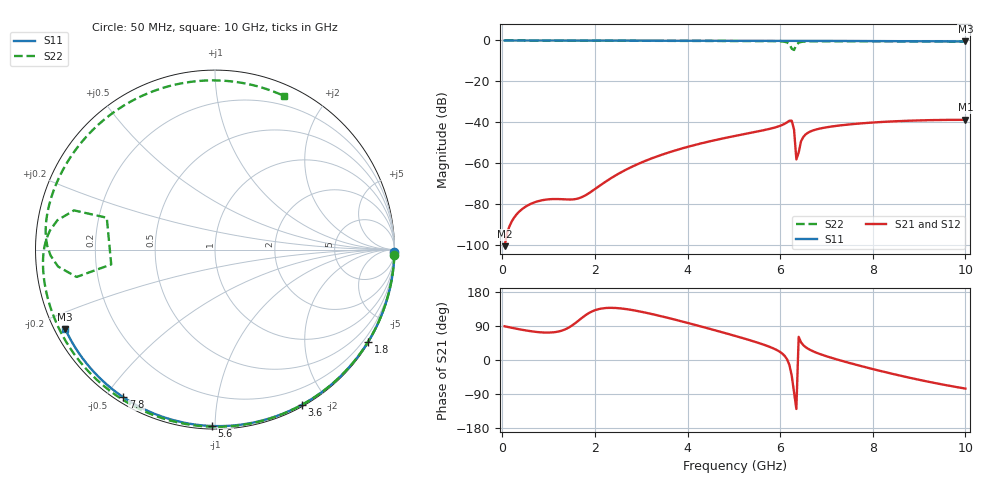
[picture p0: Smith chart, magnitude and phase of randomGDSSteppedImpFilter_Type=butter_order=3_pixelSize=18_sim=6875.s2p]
! freq	dB(S11)	phase(S11)	dB(S12)	phase(S12)
!  dB(S21)	phase(S21)	dB(S22)	phase(S22)
!S-par simulation data
#  GHz  S  DB  R 50
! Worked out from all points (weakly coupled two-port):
!   200 points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, 50 MHz to 10 GHz, reference 50 ohm
!   highest |S21| = -38.79 dB at 10 GHz (marker M1); lowest = -100.6 dB at 50 MHz (marker M2)
!   lowest |S11| = -0.5 dB at 10 GHz (marker M3), VSWR 35.02, Z = 1.52 - j12.4 ohm
!   |S11| at or under -10 dB: nowhere
!   |S22| runs from -4.7 to 0.0 dB; largest |S21 - S12| = 0
!   S11 on the Smith chart (normalised r, x): 50 MHz: open; 1.8 GHz: 0.03, -3.59; 3.6 GHz: 0.02, -1.71; 5.6 GHz: 0.02, -0.98; 7.8 GHz: 0.02, -0.56; 10 GHz: 0.03, -0.25
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0.05  -0.00 -0.9  -100.56 89.0  -100.56 89.0  -0.00 -1.7
0.6  -0.01 -10.5  -80.03 76.2  -80.03 76.2  -0.03 -20.0
0.85  -0.02 -14.8  -78.15 72.8  -78.15 72.8  -0.04 -28.2
1.75  -0.04 -30.3  -76.24 114.0  -76.24 114.0  -0.07 -57.1
1.8  -0.04 -31.1  -75.64 118.4  -75.64 118.4  -0.07 -58.7
2.6  -0.06 -44.5  -64.01 135.6  -64.01 135.6  -0.10 -83.0
3.4  -0.08 -57.5  -56.21 116.5  -56.21 116.5  -0.13 -106.0
3.6  -0.08 -60.6  -54.70 110.5  -54.70 110.5  -0.14 -111.6
5.05  -0.13 -82.9  -46.55 62.8  -46.55 62.8  -0.22 -151.4
5.6  -0.15 -91.0  -44.08 42.4  -44.08 42.4  -0.28 -167.0
6.1  -0.17 -98.2  -40.69 10.5  -40.69 10.5  -0.67 173.4
6.2  -0.18 -99.6  -39.25 -13.1  -39.25 -13.1  -1.77 164.5
6.25  -0.18 -100.3  -39.25 -41.4  -39.25 -41.4  -4.03 163.6
6.3  -0.18 -101.0  -43.61 -84.9  -43.61 -84.9  -4.67 -171.9
6.35  -0.19 -101.7  -58.13 -129.3  -58.13 -129.3  -2.09 -168.8
6.45  -0.19 -103.1  -49.34 46.7  -49.34 46.7  -0.75 -177.9
6.5  -0.19 -103.8  -47.15 39.2  -47.15 39.2  -0.59 178.9
6.7  -0.21 -106.6  -44.07 23.5  -44.07 23.5  -0.41 170.1
7.8  -0.28 -121.8  -40.44 -17.7  -40.44 -17.7  -0.42 135.9
8.35  -0.33 -129.3  -39.65 -34.4  -39.65 -34.4  -0.46 119.1
9.2  -0.41 -140.9  -38.97 -57.3  -38.97 -57.3  -0.51 92.2
10  -0.50 -152.1  -38.79 -75.4  -38.79 -75.4  -0.55 65.8
